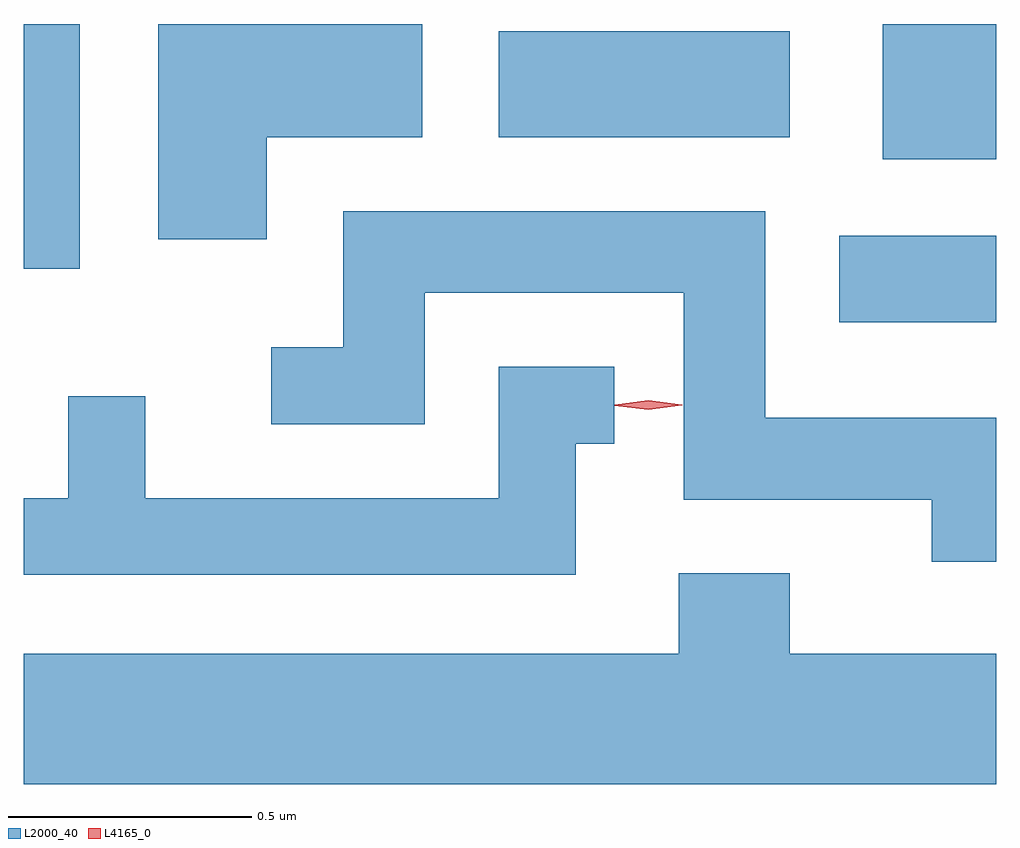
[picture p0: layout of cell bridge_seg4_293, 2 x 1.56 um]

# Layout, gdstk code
import gdstk
lib = gdstk.Library(unit=1e-6, precision=1e-09)
def R(c, l, rs):  # rectangles x0, y0, x1, y1
    for r in rs: c.add(gdstk.rectangle(r[:2], r[2:], *l))
def P(c, l, *ps):  # polygons
    for p in ps: c.add(gdstk.Polygon(p, *l))
L2000_40 = (2000, 40)
L4165_0 = (4165, 0)

bridge_seg4_293 = lib.new_cell('bridge_seg4_293')
R(bridge_seg4_293, L2000_40, [(531.251,1266.826,531.574,1267.004), (529.574,1266.936,529.689,1267.439), (531.341,1267.161,531.574,1267.439), (530.551,1267.206,531.149,1267.424)])
P(bridge_seg4_293, L2000_40, [(530.074,1267.206),(530.394,1267.206),(530.394,1267.439),(529.851,1267.439),(529.851,1266.996),(530.074,1266.996)],
  [(531.574,1266.629),(531.099,1266.629),(531.099,1267.054),(530.231,1267.054),(530.231,1266.774),(530.083,1266.774),(530.083,1266.616),(530.399,1266.616),(530.399,1266.886),(530.931,1266.886),(530.931,1266.461),(531.441,1266.461),(531.441,1266.333),(531.574,1266.333)],
  [(530.709,1266.576),(530.788,1266.576),(530.788,1266.734),(530.551,1266.734),(530.551,1266.464),(529.824,1266.464),(529.824,1266.673),(529.666,1266.673),(529.666,1266.464),(529.574,1266.464),(529.574,1266.306),(530.709,1266.306)],
  [(531.574,1266.144),(531.149,1266.144),(531.149,1266.309),(530.921,1266.309),(530.921,1266.144),(529.574,1266.144),(529.574,1265.876),(531.574,1265.876)])
P(bridge_seg4_293, L4165_0, [(530.858,1266.646),(530.789,1266.654),(530.789,1266.655),(530.789,1266.656),(530.858,1266.665),(530.928,1266.656),(530.928,1266.656),(530.928,1266.655)])

lib.write_gds('bridge_seg4_293.gds')
